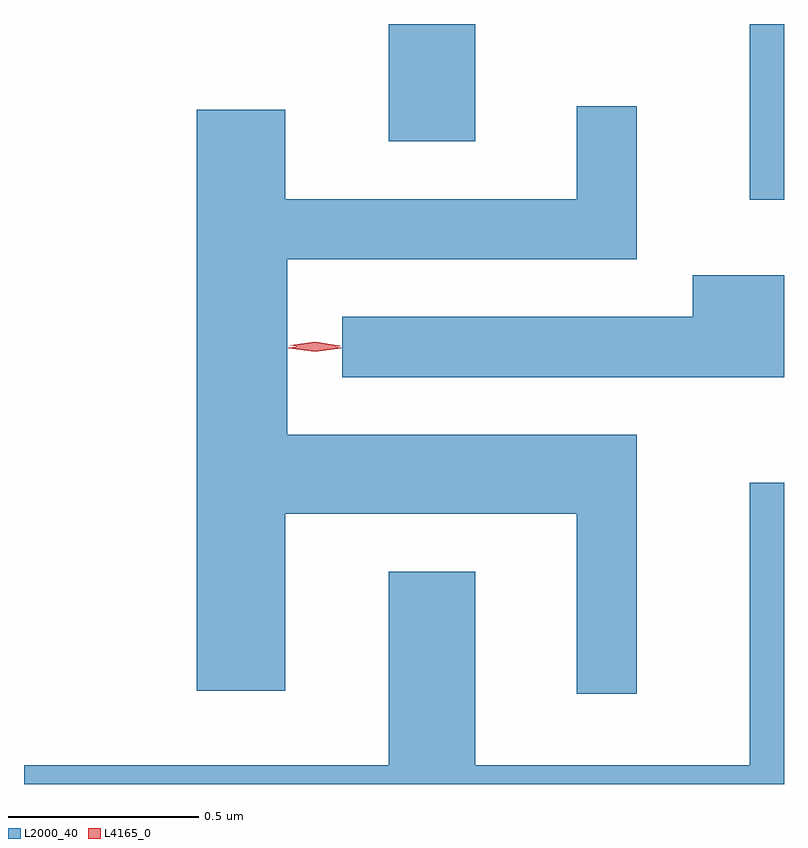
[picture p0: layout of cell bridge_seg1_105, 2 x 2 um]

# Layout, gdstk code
import gdstk
lib = gdstk.Library(unit=1e-6, precision=1e-09)
def R(c, l, rs):  # rectangles x0, y0, x1, y1
    for r in rs: c.add(gdstk.rectangle(r[:2], r[2:], *l))
def P(c, l, *ps):  # polygons
    for p in ps: c.add(gdstk.Polygon(p, *l))
L2000_40 = (2000, 40)
L4165_0 = (4165, 0)

bridge_seg1_105 = lib.new_cell('bridge_seg1_105')
R(bridge_seg1_105, L2000_40, [(1177.641,921.313,1177.731,921.775), (1176.691,921.466,1176.919,921.775)])
P(bridge_seg1_105, L2000_40, [(1177.344,920.694),(1176.424,920.694),(1176.424,921.156),(1177.344,921.156),(1177.344,921.558),(1177.186,921.558),(1177.186,921.314),(1176.419,921.314),(1176.419,921.549),(1176.186,921.549),(1176.186,920.021),(1176.419,920.021),(1176.419,920.486),(1177.186,920.486),(1177.186,920.013),(1177.344,920.013)],
  [(1177.731,921.114),(1177.491,921.114),(1177.491,921.004),(1176.568,921.004),(1176.568,920.846),(1177.731,920.846)],
  [(1177.731,920.568),(1177.641,920.568),(1177.641,919.824),(1176.919,919.824),(1176.919,920.334),(1176.691,920.334),(1176.691,919.824),(1175.731,919.824),(1175.731,919.775),(1177.731,919.775)])
P(bridge_seg1_105, L4165_0, [(1176.497,920.912),(1176.428,920.922),(1176.427,920.922),(1176.428,920.923),(1176.497,920.932),(1176.566,920.923),(1176.566,920.922),(1176.566,920.922)],
  [(1176.496,920.919),(1176.431,920.93),(1176.43,920.93),(1176.431,920.93),(1176.497,920.939),(1176.562,920.928),(1176.563,920.928),(1176.562,920.927)])

lib.write_gds('bridge_seg1_105.gds')
